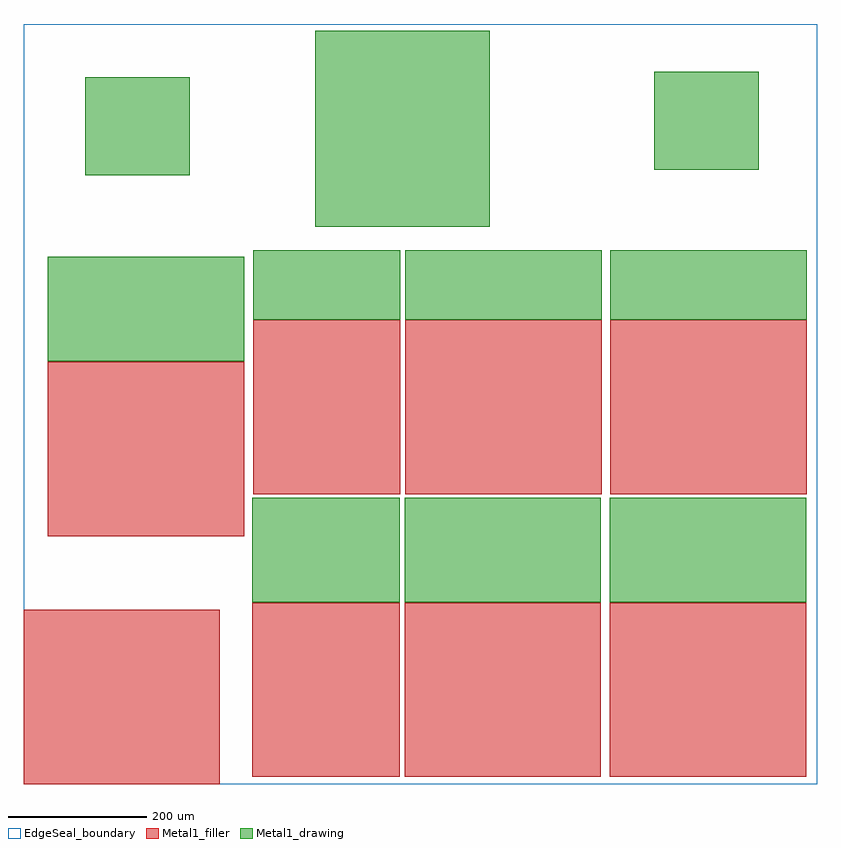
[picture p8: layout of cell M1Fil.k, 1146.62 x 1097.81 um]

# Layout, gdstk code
import gdstk
lib = gdstk.Library(unit=1e-6, precision=1e-09)
def R(c, l, rs):  # rectangles x0, y0, x1, y1
    for r in rs: c.add(gdstk.rectangle(r[:2], r[2:], *l))
def A(c, l, x, y, w, h, nx, ny, dx, dy):  # array of equal rectangles
    R(c, l, [(x+i*dx, y+j*dy, x+i*dx+w, y+j*dy+h) for i in range(nx) for j in range(ny)])
Metal1_drawing = (8, 0)
Metal1_filler = (8, 22)
EdgeSeal_boundary = (39, 4)

m1fil_k = lib.new_cell('M1Fil.k')
A(m1fil_k, Metal1_drawing, 330.522, 262.612, 35, 50, 6, 3, 35.5, 50.5)
A(m1fil_k, Metal1_drawing, 550.408, 262.612, 35, 50, 8, 3, 35.5, 50.5)
A(m1fil_k, Metal1_drawing, 846.823, 262.612, 35, 50, 8, 3, 35.5, 50.5)
A(m1fil_k, Metal1_drawing, 35.235, 610.4, 35, 50, 8, 3, 35.5, 50.5)
A(m1fil_k, Metal1_drawing, 331.452, 670.844, 35, 50, 6, 2, 35.5, 50.5)
A(m1fil_k, Metal1_drawing, 551.338, 670.844, 35, 50, 8, 2, 35.5, 50.5)
A(m1fil_k, Metal1_drawing, 847.753, 670.844, 35, 50, 8, 2, 35.5, 50.5)
A(m1fil_k, Metal1_drawing, 421.515, 804.71, 50, 35, 5, 8, 50.5, 35.5)
A(m1fil_k, Metal1_drawing, 88.995, 879.115, 50, 35, 3, 4, 50.5, 35.5)
A(m1fil_k, Metal1_drawing, 910.625, 887.55, 50, 35, 3, 4, 50.5, 35.5)
A(m1fil_k, Metal1_filler, 0, 0, 35, 50, 8, 5, 35.5, 50.5)
A(m1fil_k, Metal1_filler, 330.522, 10.112, 35, 50, 6, 5, 35.5, 50.5)
A(m1fil_k, Metal1_filler, 550.408, 10.112, 35, 50, 8, 5, 35.5, 50.5)
A(m1fil_k, Metal1_filler, 846.823, 10.112, 35, 50, 8, 5, 35.5, 50.5)
A(m1fil_k, Metal1_filler, 35.235, 357.9, 35, 50, 8, 5, 35.5, 50.5)
A(m1fil_k, Metal1_filler, 331.452, 418.344, 35, 50, 6, 5, 35.5, 50.5)
A(m1fil_k, Metal1_filler, 551.338, 418.344, 35, 50, 8, 5, 35.5, 50.5)
A(m1fil_k, Metal1_filler, 847.753, 418.344, 35, 50, 8, 5, 35.5, 50.5)
R(m1fil_k, EdgeSeal_boundary, [(0,0,1146.62,1097.81)])

lib.write_gds('M1Fil.k.gds')
